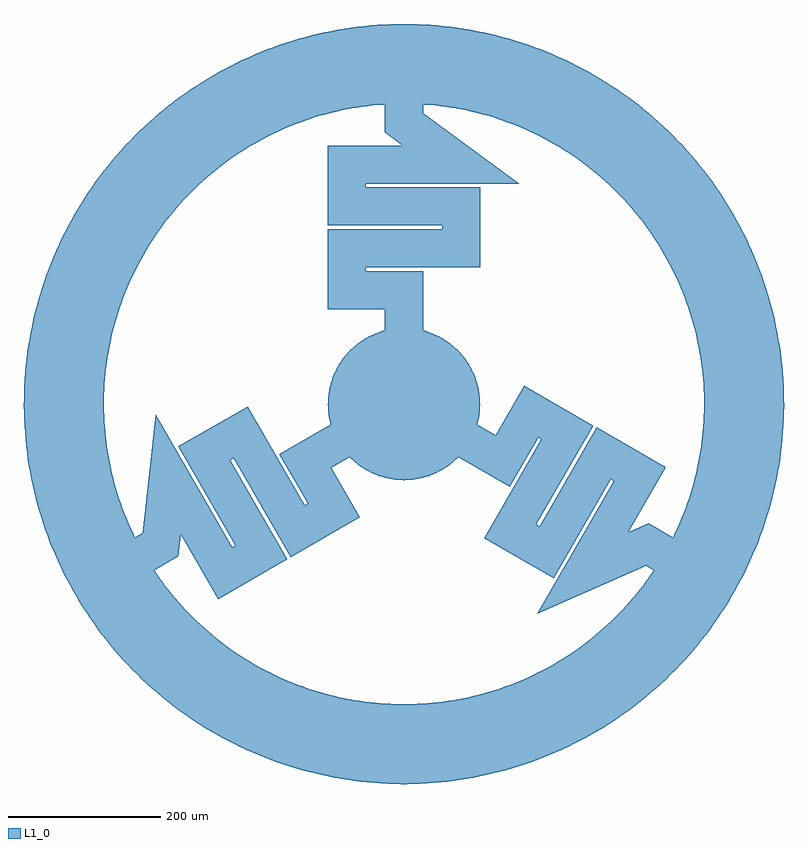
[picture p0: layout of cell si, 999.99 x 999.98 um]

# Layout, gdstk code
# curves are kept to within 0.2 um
import gdstk
lib = gdstk.Library(unit=1e-6, precision=1e-09)
def P(c, l, *ps):  # polygons
    for p in ps: c.add(gdstk.Polygon(p, *l))
L1_0 = (1, 0)

c_si = lib.new_cell('si')
P(c_si, L1_0, [(-0.875,-99.996),(-11.352,-99.354),(-19.992,-97.981),(-30.152,-95.346),(-38.369,-92.346),(-47.838,-87.816),(-56.779,-82.318),(-65.094,-75.913),(-71.48,-69.933),(-77.318,-63.418),(-83.54,-54.964),(-88.024,-47.453),(-92.513,-37.965),(-95.983,-28.059),(-98.068,-19.563),(-99.578,-9.176),(-99.991,1.313),(-99.303,11.786),(-97.521,22.13),(-94.664,32.23),(-91.485,40.38),(-86.748,49.747),(-82.068,57.138),(-75.627,65.426),(-69.62,71.785),(-61.712,78.687),(-54.598,83.78),(-47.067,88.231),(-37.56,92.678),(-27.639,96.105),(-19.133,98.153),(-8.74,99.617),(1.75,99.985),(10.482,99.449),(20.848,97.803),(30.985,95.079),(39.176,92.007),(48.604,87.394),(56.056,82.811),(64.428,76.479),(72.089,69.305),(78.956,61.367),(84.018,54.231),(88.436,46.681),(92.842,37.154),(95.734,28.898),(98.235,18.704),(99.655,8.304),(99.999,-0.438),(99.578,-9.176),(98.068,-19.563),(95.983,-28.059),(92.513,-37.965),(88.024,-47.453),(83.54,-54.964),(77.318,-63.418),(70.245,-71.173),(62.398,-78.144),(55.329,-83.299),(47.838,-87.816),(38.369,-92.346),(28.478,-95.859),(18.274,-98.316),(7.868,-99.69)],
  [(-4.375,-499.981),(-30.609,-499.062),(-56.759,-496.768),(-82.752,-493.105),(-99.958,-489.907),(-125.531,-483.985),(-150.759,-476.73),(-175.57,-468.161),(-199.898,-458.302),(-215.815,-451.025),(-239.188,-439.078),(-261.902,-425.92),(-283.894,-411.588),(-305.103,-396.121),(-325.472,-379.563),(-344.944,-361.959),(-357.4,-349.665),(-375.258,-330.426),(-392.082,-310.277),(-407.826,-289.272),(-417.699,-274.822),(-431.547,-252.522),(-440.12,-237.265),(-451.965,-213.839),(-462.565,-189.825),(-471.89,-165.287),(-479.914,-140.294),(-486.616,-114.914),(-491.976,-89.217),(-494.797,-71.945),(-497.891,-45.878),(-499.612,-19.685),(-499.957,6.563),(-498.923,32.793),(-496.515,58.932),(-492.738,84.908),(-487.603,110.651),(-481.124,136.089),(-476.066,152.843),(-470.426,169.41),(-460.886,193.865),(-450.077,217.786),(-438.027,241.107),(-424.769,263.763),(-415.278,278.467),(-405.279,292.83),(-389.352,313.696),(-378.135,327.13),(-366.455,340.163),(-348.098,358.926),(-328.781,376.7),(-308.558,393.436),(-306.527,395),(0,395),(-20.73,394.456),(-34.522,393.489),(-48.272,392.039),(-68.78,388.966),(-82.351,386.32),(-95.82,383.202),(-115.799,377.645),(-128.944,373.361),(-141.932,368.62),(-161.082,360.663),(-173.605,354.804),(-185.916,348.512),(-197.999,341.792),(-209.839,334.653),(-227.113,323.179),(-238.284,315.033),(-249.163,306.501),(-264.905,293.002),(-279.918,278.695),(-289.5,268.729),(-298.727,258.432),(-311.878,242.399),(-320.17,231.335),(-328.07,219.989),(-335.568,208.373),(-342.655,196.501),(-352.495,178.247),(-358.517,165.802),(-364.1,153.154),(-371.636,133.834),(-376.092,120.746),(-380.088,107.51),(-385.206,87.414),(-389.263,67.078),(-391.372,53.414),(-393.001,39.684),(-394.543,19.004),(-394.966,5.185),(-394.905,-8.641),(-393.908,-29.354),(-392.639,-43.122),(-390.89,-56.836),(-387.368,-77.273),(-384.426,-90.782),(-381.014,-104.18),(-377.135,-117.45),(-372.793,-130.577),(-365.426,-149.962),(-357.053,-168.933),(-350.922,-181.325),(-344.361,-193.495),(-337.378,-205.428),(-329.983,-217.11),(-318.133,-234.128),(-305.408,-250.502),(-296.454,-261.037),(-287.137,-271.252),(-277.468,-281.134),(-267.459,-290.673),(-251.836,-304.309),(-235.518,-317.106),(-224.276,-325.154),(-212.759,-332.804),(-200.982,-340.046),(-188.959,-346.871),(-170.494,-356.31),(-151.559,-364.767),(-138.701,-369.847),(-125.672,-374.475),(-112.49,-378.644),(-99.17,-382.349),(-78.967,-387.026),(-65.374,-389.553),(-51.701,-391.602),(-31.077,-393.776),(-17.278,-394.622),(-3.457,-394.985),(17.278,-394.622),(31.077,-393.776),(44.839,-392.447),(65.374,-389.553),(78.967,-387.026),(92.463,-384.026),(112.49,-378.644),(132.207,-372.218),(145.152,-367.363),(157.92,-362.059),(176.703,-353.272),(188.959,-346.871),(200.982,-340.046),(212.759,-332.804),(224.276,-325.154),(241.032,-312.936),(257.123,-299.855),(267.459,-290.673),(277.468,-281.134),(291.84,-266.185),(305.408,-250.502),(313.987,-239.66),(326.132,-222.851),(337.378,-205.428),(347.695,-187.439),(357.053,-168.933),(362.746,-156.334),(370.451,-137.081),(377.135,-117.45),(382.779,-97.496),(385.956,-84.04),(389.835,-63.669),(391.824,-49.987),(393.334,-36.244),(394.694,-15.551),(394.966,5.185),(394.543,19.004),(393.636,32.8),(391.372,53.414),(389.263,67.078),(385.206,87.414),(380.088,107.51),(373.922,127.309),(366.725,146.758),(361.364,159.502),(352.495,178.247),(342.655,196.501),(331.87,214.214),(324.17,225.697),(311.878,242.399),(298.727,258.432),(289.5,268.729),(274.997,283.552),(264.905,293.002),(254.489,302.093),(243.761,310.814),(232.734,319.155),(215.664,330.929),(203.95,338.274),(191.987,345.204),(179.788,351.712),(161.082,360.663),(148.361,366.079),(135.459,371.047),(115.799,377.645),(102.512,381.466),(89.099,384.82),(68.78,388.966),(48.272,392.039),(27.63,394.032),(6.913,394.94),(-306.527,395),(-287.485,409.087),(-272.992,418.898),(-250.631,432.648),(-235.337,441.154),(-211.86,452.897),(-195.88,460.034),(-179.66,466.607),(-163.221,472.609),(-146.581,478.031),(-129.762,482.868),(-112.783,487.114),(-87.063,492.362),(-69.779,495.107),(-43.699,498.087),(-17.498,499.694),(0,500),(17.498,499.694),(43.699,498.087),(69.779,495.107),(95.667,490.763),(121.291,485.065),(146.581,478.031),(171.467,469.68),(195.88,460.034),(211.86,452.897),(235.337,441.154),(258.165,428.195),(280.281,414.056),(294.6,403.994),(315.396,387.976),(335.323,370.888),(354.326,352.779),(372.352,333.697),(389.352,313.696),(405.279,292.83),(415.278,278.467),(429.321,256.289),(442.179,233.404),(453.819,209.876),(464.209,185.77),(473.318,161.151),(481.124,136.089),(487.603,110.651),(491.176,93.519),(495.408,67.612),(498.273,41.519),(499.421,24.056),(499.995,-2.188),(499.191,-28.425),(497.012,-54.584),(494.797,-71.945),(490.339,-97.813),(486.616,-114.914),(479.914,-140.294),(471.89,-165.287),(462.565,-189.825),(451.965,-213.839),(440.12,-237.265),(427.061,-260.036),(412.826,-282.09),(402.701,-296.365),(386.592,-317.091),(369.418,-336.943),(351.225,-355.866),(332.065,-373.809),(311.989,-390.721),(291.054,-406.556),(269.316,-421.271),(254.408,-430.438),(231.467,-443.196),(207.888,-454.733),(183.737,-465.017),(159.079,-474.019),(142.392,-479.296),(117.042,-486.108),(91.369,-491.581),(65.444,-495.699),(39.339,-498.45),(13.125,-499.828)])
c_si.add(gdstk.FlexPath([(0,0),(0,150),(-75,150),(-75,205),(75,205),(75,260),(-75,260),(-75,315),(75,315),(75,315),(0,370),(0,395)], 50, ends="flush", simple_path=True, layer=1, datatype=0))  # L1_0
c_si.add(gdstk.FlexPath([(0,0),(-129.904,-75),(-92.404,-139.952),(-140.035,-167.452),(-215.035,-37.548),(-262.667,-65.048),(-187.667,-194.952),(-235.298,-222.452),(-310.298,-92.548),(-310.298,-92.548),(-320.429,-185),(-342.08,-197.5)], 50, ends="flush", simple_path=True, layer=1, datatype=0))  # L1_0
c_si.add(gdstk.FlexPath([(0,0),(129.904,-75),(167.404,-10.048),(215.035,-37.548),(140.035,-167.452),(187.667,-194.952),(262.667,-65.048),(310.298,-92.548),(235.298,-222.452),(235.298,-222.452),(320.429,-185),(342.08,-197.5)], 50, ends="flush", simple_path=True, layer=1, datatype=0))  # L1_0

lib.write_gds('si.gds')
